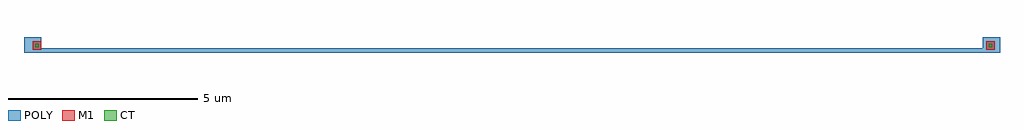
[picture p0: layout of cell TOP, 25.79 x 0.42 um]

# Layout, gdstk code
import gdstk
lib = gdstk.Library(unit=1e-6, precision=1e-09)
def R(c, l, rs):  # rectangles x0, y0, x1, y1
    for r in rs: c.add(gdstk.rectangle(r[:2], r[2:], *l))
POLY = (41, 1)
CT = (72, 1)
M1 = (81, 1)

top = lib.new_cell('TOP')
R(top, POLY, [(0,0,25.79,0.12), (0,0,0.45,0.42), (25.34,0,25.79,0.42)])
R(top, CT, [(0.3,0.15,0.39,0.24), (25.49,0.15,25.58,0.24)])
R(top, M1, [(0.235,0.085,0.455,0.305), (25.425,0.085,25.645,0.305)])

lib.write_gds('TOP.gds')
